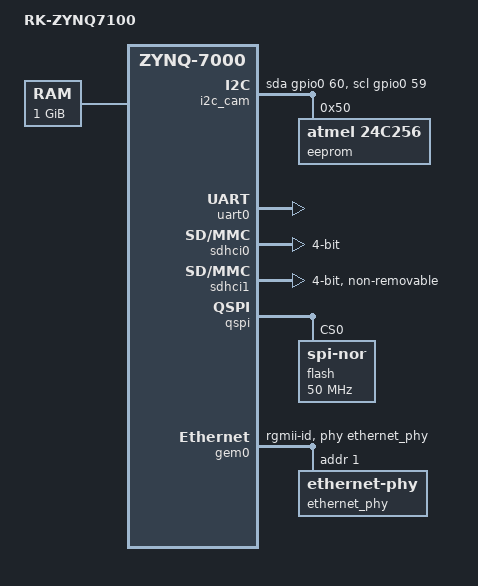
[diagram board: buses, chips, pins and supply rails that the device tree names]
// SPDX-License-Identifier: GPL-2.0+
// SPDX-FileCopyrightText: 2026 Howard M. Harte
/*
 * RK-ZYNQ7100 device tree for U-Boot (SPL and U-Boot proper).
 *
 * Leaner than the kernel's: console, boot media and network. DDR, MIO and PLL
 * bring-up do not come from here -- SPL runs ps7_init_gpl.c before this tree is
 * parsed (see uboot-rkz7100.fragment).
 *
 * ⚠ bootph-all only where U-Boot PROPER needs the node before relocation too:
 * the clock controller and the console. U-Boot proper's pre-relocation heap
 * and stack share 8 KiB of OCM (CFG_SYS_INIT_RAM_SIZE = 0x2000), and every
 * node bound early costs heap. With bootph-all on QSPI, the flash, SD and the
 * GPIO hog as well, the UART's clk_get_by_index() hit -ENOMEM and U-Boot
 * panicked -- and panic() resets the chip, so the only symptom was silence.
 * Raising SYS_MALLOC_F_LEN to 64 KiB instead overran the 8 KiB and data-aborted.
 * The boot media are SPL-only (bootph-pre-ram): SPL needs them to load
 * u-boot.img, and U-Boot proper binds them after relocation like everything
 * else.
 */

/dts-v1/;

#include <dt-bindings/gpio/gpio.h>
#include "zynq-7000.dtsi"

/ {
	model = "RK-ZYNQ7100";
	compatible = "rk,zynq-z7100", "xlnx,zynq-7000";

	aliases {
		ethernet0 = &gem0;
		serial0 = &uart0;
		spi0 = &qspi;
		mmc0 = &sdhci0;
		mmc1 = &sdhci1;
		usb0 = &usb0;
	};

	chosen {
		bootargs = "";
		stdout-path = "serial0:115200n8";
	};

	memory@0 {
		device_type = "memory";
		reg = <0x0 0x40000000>;
	};
};

&clkc {
	ps-clk-frequency = <33333333>;
	bootph-all;
};

&uart0 {
	status = "okay";
	bootph-all;
};

&sdhci0 {
	status = "okay";
	bus-width = <4>;
	disable-wp;
	no-1-8-v;
	bootph-pre-ram;
};

&sdhci1 {
	status = "okay";
	bus-width = <4>;
	non-removable;
	disable-wp;
	no-1-8-v;
};

/* Dual-parallel 2x W25Q256FV, as zynq-zc706.dts in this U-Boot. */
&qspi {
	status = "okay";
	num-cs = <2>;
	bootph-pre-ram;

	flash@0 {
		compatible = "jedec,spi-nor";
		reg = <0>, <1>;
		parallel-memories = /bits/ 64 <0x2000000 0x2000000>;
		spi-tx-bus-width = <1>;
		spi-rx-bus-width = <4>;
		spi-max-frequency = <50000000>;
		bootph-pre-ram;
	};
};

&gem0 {
	status = "okay";
	phy-mode = "rgmii-id";
	phy-handle = <&ethernet_phy>;

	/*
	 * The MAC address comes out of the EEPROM below. U-Boot's eth-uclass
	 * reads an nvmem cell named "mac-address" exactly as Linux does, so
	 * one description serves both and neither has to be told separately.
	 *
	 * The EEPROM is on PL pins, and gem0 probes during "Net:", before
	 * PREBOOT loads the bitstream, so on a normal boot this read finds no
	 * EEPROM and gem0 starts with a random address. PREBOOT then reads the
	 * same six bytes over I2C and forces ethaddr (uboot-rkz7100.fragment).
	 */
	nvmem-cells = <&eth0_mac>;
	nvmem-cell-names = "mac-address";

	ethernet_phy: ethernet-phy@1 {
		reg = <1>;
	};
};

/ {
	/*
	 * The camera/EEPROM I2C bus, bit-banged over EMIO GPIO 59 (SCL) and 60
	 * (SDA) -- Zynq numbering, so 54 + the EMIO bit the PL wires.
	 *
	 * Deliberately not bootph-*: U-Boot proper binds this after
	 * relocation, where there is heap to spare. See the warning at the top
	 * of this file about what early binding costs.
	 */
	i2c_cam: i2c-cam {
		compatible = "i2c-gpio";
		scl-gpios = <&gpio0 59 (GPIO_ACTIVE_HIGH | GPIO_OPEN_DRAIN)>;
		sda-gpios = <&gpio0 60 (GPIO_ACTIVE_HIGH | GPIO_OPEN_DRAIN)>;
		i2c-gpio,delay-us = <5>;
		#address-cells = <1>;
		#size-cells = <0>;

		eeprom: eeprom@50 {
			compatible = "atmel,24c256";
			reg = <0x50>;
			pagesize = <64>;
			#address-cells = <1>;
			#size-cells = <1>;

			/* 6 raw bytes at 0x20, past the factory timestamp. */
			eth0_mac: mac-address@20 {
				reg = <0x20 6>;
			};
		};
	};
};
